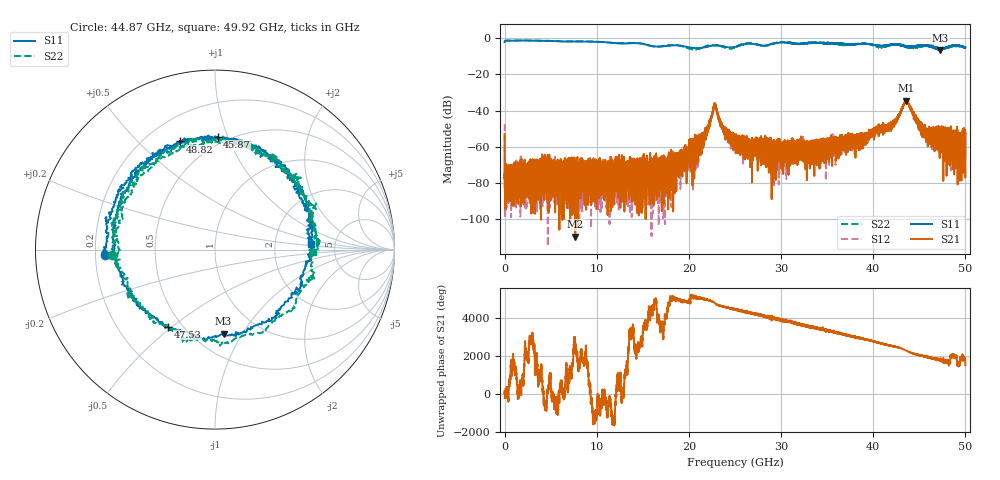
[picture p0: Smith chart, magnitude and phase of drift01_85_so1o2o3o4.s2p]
!Created with skrf (http://scikit-rf.org).
# Hz S RI R 50.0
!freq ReS11 ImS11 ReS21 ImS21 ReS12 ImS12 ReS22 ImS22
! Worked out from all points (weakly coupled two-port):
!   10001 points, 300 kHz to 50 GHz, reference 50 ohm
!   highest |S21| = -34.54 dB at 43.56 GHz (marker M1); lowest = -109.5 dB at 7.665 GHz (marker M2)
!   lowest |S11| = -6.5 dB at 47.28 GHz (marker M3), VSWR 2.78, Z = 34.5 - j41.6 ohm
!   |S11| at or under -10 dB: nowhere
!   |S22| runs from -6.3 to -1.4 dB; largest |S21 - S12| = 0.0036
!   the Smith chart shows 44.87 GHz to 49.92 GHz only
!   S11 on the Smith chart (normalised r, x): 44.87 GHz: 0.24, -0.02; 45.87 GHz: 0.44, +0.92; 47.53 GHz: 0.42, -0.48; 48.82 GHz: 0.33, +0.67; 49.92 GHz: 3.27, +0.29
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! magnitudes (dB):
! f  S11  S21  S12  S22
! 300 kHz  -2.2  -53.0  -47.5  -2.0
! 300.3 MHz  -1.4  -86.1  -76.2  -1.4
! 7.665 GHz  -1.9  -109.5  -68.6  -1.8
! 8.335 GHz  -1.9  -66.1  -72.1  -1.8
! 16.67 GHz  -4.8  -79.9  -72.8  -4.8
! 17.73 GHz  -4.3  -68.3  -72.8  -4.1
! 21.08 GHz  -5.6  -56.1  -59.8  -5.9
! 21.99 GHz  -4.8  -51.2  -50.1  -4.4
! 22.79 GHz  -4.3  -36.0  -36.5  -4.0
! 23.81 GHz  -4.7  -50.6  -49.3  -5.1
! 25 GHz  -5.0  -56.0  -59.5  -5.0
! 29.76 GHz  -2.6  -59.4  -63.3  -2.5
! 33.34 GHz  -2.5  -58.1  -61.9  -2.7
! 41.67 GHz  -3.8  -49.5  -49.4  -3.9
! 43.56 GHz  -4.4  -34.5  -35.2  -4.9
! 44.87 GHz  -4.2  -46.6  -46.1  -4.8
! 45.87 GHz  -4.0  -50.5  -51.3  -4.5
! 47.28 GHz  -6.5  -58.2  -53.8  -5.8
! 47.53 GHz  -6.0  -49.6  -55.8  -5.3
! 48.82 GHz  -4.0  -67.8  -54.6  -4.5
! 49.92 GHz  -5.4  -51.8  -54.3  -5.2
! 50 GHz  -5.4  -52.6  -59.7  -5.2
